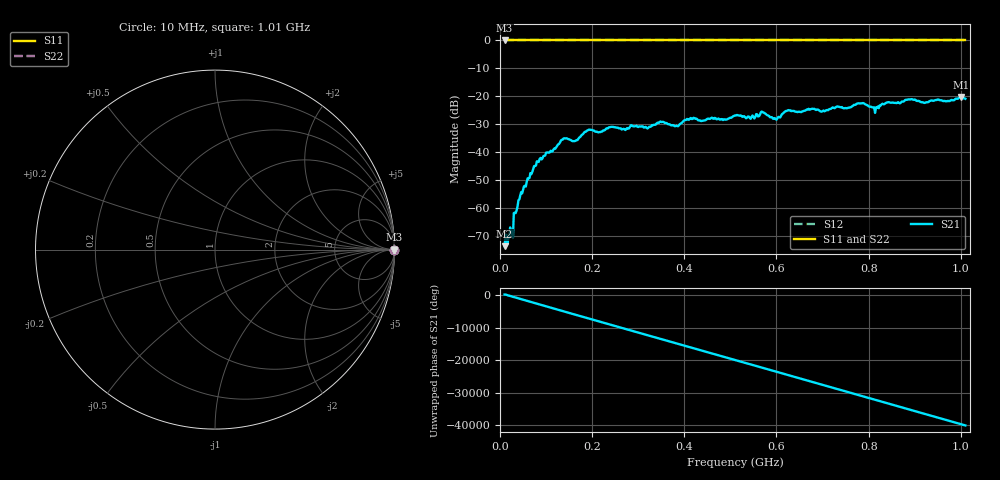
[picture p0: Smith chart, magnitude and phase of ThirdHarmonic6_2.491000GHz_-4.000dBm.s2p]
! 8/17/2025 4:42:43 AM
! C:\ANRITSUVNA\TEMP\TEMP.S2P
! CHANNEL.1
! TR.MEASUREMENT
! RAW.DATA
! RF.CORRECTION.OFF
! AVERAGING.OFF
! IF.BANDWIDTH: 5KHZ
! SWEEPTYPE:  FREQ.SWEEP(Linear)
! Reference Plane Port Info
! PORT:  PORT1  PORT2
! DISTANCE:  0  m  0  m
! TIME:  0  s  0  s
! PHASE.OFFSET:  0  deg.  0  deg.
! LOSS:  0  dB  0  dB
! REF.LOSS:  0  dB  0  dB
! REF.FREQ:  0  Hz  0  Hz
! Power Info
! POWER:  -20  dBm  -20  dBm
! EFF.POWER:  -20  dBm  -20  dBm
! SOURCE.ATTEN:  0  dB  0  dB
! TEST.ATTEN:  0  dB  0  dB
# GHZ S RI R 50.0
! FREQ.GHZ  S11RE  S11IM  S21RE  S21IM  S12RE  S12IM  S22RE  S22IM
!; PortSelection: Port_12
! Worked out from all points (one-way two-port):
!   501 points, 10 MHz to 1.01 GHz, reference 50 ohm
!   highest |S21| = -20.32 dB at 1 GHz (marker M1); lowest = -73.8 dB at 10 MHz (marker M2)
!   lowest |S11| = 0.0 dB at 10 MHz (marker M3)
!   |S11| at or under -10 dB: nowhere
!   |S22| runs from 0.0 to 0.0 dB; largest |S21 - S12| = 1.1
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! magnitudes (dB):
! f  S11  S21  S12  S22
! 10 MHz  0.0  -73.8  0.0  0.0
! 24 MHz  0.0  -68.5  0.0  0.0
! 44 MHz  0.0  -55.6  0.0  0.0
! 78 MHz  0.0  -44.9  0.0  0.0
! 136 MHz  0.0  -35.6  0.0  0.0
! 162 MHz  0.0  -36.1  0.0  0.0
! 178 MHz  0.0  -33.8  0.0  0.0
! 194 MHz  0.0  -32.0  0.0  0.0
! 322 MHz  0.0  -31.3  0.0  0.0
! 344 MHz  0.0  -29.6  0.0  0.0
! 384 MHz  0.0  -30.6  0.0  0.0
! 410 MHz  0.0  -28.5  0.0  0.0
! 510 MHz  0.0  -26.9  0.0  0.0
! 570 MHz  0.0  -25.7  0.0  0.0
! 598 MHz  0.0  -28.1  0.0  0.0
! 624 MHz  0.0  -25.1  0.0  0.0
! 678 MHz  0.0  -24.5  0.0  0.0
! 786 MHz  0.0  -22.5  0.0  0.0
! 818 MHz  0.0  -24.1  0.0  0.0
! 844 MHz  0.0  -22.1  0.0  0.0
! 1 GHz  0.0  -20.3  0.0  0.0
! 1.01 GHz  0.0  -20.9  0.0  0.0
